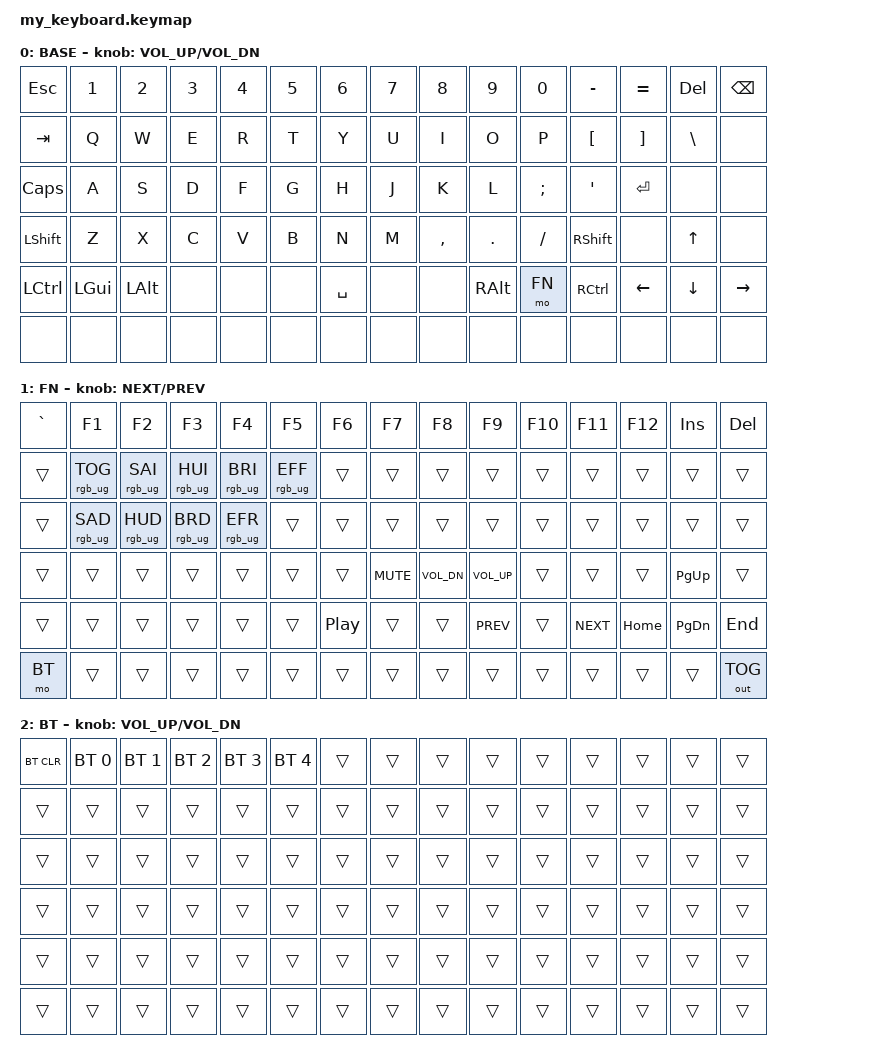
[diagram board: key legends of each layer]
// =============================================================
//  my_keyboard.keymap
//  also wth why is there just a sudden change in language cant you just use the same format like.
// =============================================================

#include <behaviors.dtsi>
#include <dt-bindings/zmk/keys.h>
#include <dt-bindings/zmk/bt.h>
#include <dt-bindings/zmk/rgb.h>
#include <dt-bindings/zmk/outputs.h>

#define BASE 0
#define FN   1
#define BT   2

/ {
    sensors {
        compatible = "zmk,keymap-sensors";
        sensors = <&encoder>;
    };

    keymap {
        compatible = "zmk,keymap";

        // LAYER 0 - BASE
        base_layer {
            label = "BASE";
            bindings = <
                &kp ESC    &kp N1    &kp N2    &kp N3    &kp N4    &kp N5    &kp N6    &kp N7    &kp N8    &kp N9    &kp N0    &kp MINUS  &kp EQUAL  &kp DEL   &kp BSPC
                &kp TAB    &kp Q     &kp W     &kp E     &kp R     &kp T     &kp Y     &kp U     &kp I     &kp O     &kp P     &kp LBKT   &kp RBKT   &kp BSLH  &none
                &kp CAPS   &kp A     &kp S     &kp D     &kp F     &kp G     &kp H     &kp J     &kp K     &kp L     &kp SEMI  &kp SQT    &kp RET    &none     &none
                &kp LSHFT  &kp Z     &kp X     &kp C     &kp V     &kp B     &kp N     &kp M     &kp COMMA &kp DOT   &kp FSLH  &kp RSHFT  &none      &kp UP    &none
                &kp LCTRL  &kp LGUI  &kp LALT  &none     &none     &none     &kp SPACE &none     &none     &kp RALT  &mo FN    &kp RCTRL  &kp LEFT   &kp DOWN  &kp RIGHT
                &none      &none     &none     &none     &none     &none     &none     &none     &none     &none     &none     &none      &none      &none     &none
            >;
            sensor-bindings = <&inc_dec_kp C_VOL_UP C_VOL_DN>;
        };

        // LAYER 1 - FN
        fn_layer {
            label = "FN";
            bindings = <
                &kp GRAVE  &kp F1    &kp F2    &kp F3    &kp F4    &kp F5    &kp F6    &kp F7    &kp F8    &kp F9    &kp F10   &kp F11    &kp F12    &kp INS   &kp DEL
                &trans     &rgb_ug RGB_TOG  &rgb_ug RGB_SAI  &rgb_ug RGB_HUI  &rgb_ug RGB_BRI  &rgb_ug RGB_EFF  &trans  &trans  &trans  &trans  &trans  &trans  &trans  &trans  &trans
                &trans     &rgb_ug RGB_SAD  &rgb_ug RGB_HUD  &rgb_ug RGB_BRD  &rgb_ug RGB_EFR  &trans  &trans  &trans  &trans  &trans  &trans  &trans  &trans  &trans  &trans
                &trans     &trans    &trans    &trans    &trans    &trans    &trans    &kp C_MUTE  &kp C_VOL_DN  &kp C_VOL_UP  &trans  &trans  &trans  &kp PG_UP  &trans
                &trans     &trans    &trans    &trans    &trans    &trans    &kp C_PP  &trans    &trans    &kp C_PREV  &trans  &kp C_NEXT  &kp HOME  &kp PG_DN  &kp END
                &mo BT     &trans    &trans    &trans    &trans    &trans    &trans    &trans    &trans    &trans    &trans    &trans     &trans     &trans    &out OUT_TOG
            >;
            sensor-bindings = <&inc_dec_kp C_NEXT C_PREV>;
        };

        // LAYER 2 - BT
        bt_layer {
            label = "BT";
            bindings = <
                &bt BT_CLR  &bt BT_SEL 0  &bt BT_SEL 1  &bt BT_SEL 2  &bt BT_SEL 3  &bt BT_SEL 4  &trans  &trans  &trans  &trans  &trans  &trans  &trans  &trans  &trans
                &trans  &trans  &trans  &trans  &trans  &trans  &trans  &trans  &trans  &trans  &trans  &trans  &trans  &trans  &trans
                &trans  &trans  &trans  &trans  &trans  &trans  &trans  &trans  &trans  &trans  &trans  &trans  &trans  &trans  &trans
                &trans  &trans  &trans  &trans  &trans  &trans  &trans  &trans  &trans  &trans  &trans  &trans  &trans  &trans  &trans
                &trans  &trans  &trans  &trans  &trans  &trans  &trans  &trans  &trans  &trans  &trans  &trans  &trans  &trans  &trans
                &trans  &trans  &trans  &trans  &trans  &trans  &trans  &trans  &trans  &trans  &trans  &trans  &trans  &trans  &trans
            >;
            sensor-bindings = <&inc_dec_kp C_VOL_UP C_VOL_DN>;
        };
    };
};
